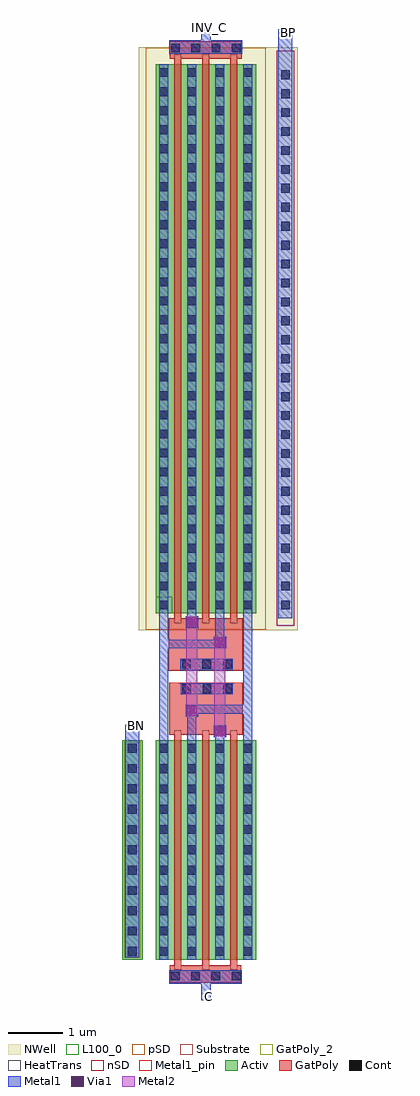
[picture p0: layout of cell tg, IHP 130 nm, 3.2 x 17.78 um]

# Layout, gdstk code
from math import pi, radians
import gdstk
lib = gdstk.Library(unit=1e-6, precision=1e-09)
def R(c, l, rs):  # rectangles x0, y0, x1, y1
    for r in rs: c.add(gdstk.rectangle(r[:2], r[2:], *l))
def A(c, l, x, y, w, h, nx, ny, dx, dy):  # array of equal rectangles
    R(c, l, [(x+i*dx, y+j*dy, x+i*dx+w, y+j*dy+h) for i in range(nx) for j in range(ny)])
Activ = (1, 0)
GatPoly = (5, 0)
GatPoly_2 = (5, 2)
Cont = (6, 0)
nSD = (7, 0)
Metal1 = (8, 0)
Metal1_pin = (8, 2)
Metal2 = (10, 0)
pSD = (14, 0)
Via1 = (19, 0)
NWell = (31, 0)
Substrate = (40, 0)
HeatTrans = (51, 0)
L100_0 = (100, 0)

pmos_1 = lib.new_cell('pmos$1')
A(pmos_1, Activ, 0, 0, 0.3, 0.3, 4, 1, 0.51, 0)
R(pmos_1, Activ, [(0,0,1.83,10)])
A(pmos_1, GatPoly, 0.34, -0.18, 0.13, 10.36, 3, 1, 0.51, 0)
R(pmos_1, GatPoly, [(0.34,-0.18,0.47,10.18)])
A(pmos_1, Cont, 0.07, 0.07, 0.16, 0.16, 4, 4, 0.51, 0.345)
A(pmos_1, Cont, 0.07, 1.455, 0.16, 0.16, 4, 3, 0.51, 0.345)
A(pmos_1, Cont, 0.07, 2.495, 0.16, 0.16, 4, 4, 0.51, 0.345)
A(pmos_1, Cont, 0.07, 3.88, 0.16, 0.16, 4, 3, 0.51, 0.345)
A(pmos_1, Cont, 0.07, 4.92, 0.16, 0.16, 4, 4, 0.51, 0.345)
A(pmos_1, Cont, 0.07, 6.305, 0.16, 0.16, 4, 3, 0.51, 0.345)
A(pmos_1, Cont, 0.07, 7.345, 0.16, 0.16, 4, 4, 0.51, 0.345)
A(pmos_1, Cont, 0.07, 8.73, 0.16, 0.16, 4, 3, 0.51, 0.345)
A(pmos_1, Cont, 0.07, 9.77, 0.16, 0.16, 4, 1, 0.51, 0)
A(pmos_1, Metal1, 0.58, 0, 0.16, 10, 3, 1, 0.51, 0)
R(pmos_1, Metal1, [(0.07,0,0.23,10), (0.07,0,0.23,10), (0.58,0,0.74,10)])
R(pmos_1, pSD, [(-0.18,-0.3,2.01,10.3)])
R(pmos_1, NWell, [(-0.31,-0.31,2.14,10.31)])
R(pmos_1, Substrate, [(1.53,0,1.83,0.3)])
A(pmos_1, HeatTrans, 0.34, -0.18, 0.13, 10.36, 3, 1, 0.51, 0)
pmos_1.add(gdstk.Label('pmos', (0.405,5), layer=63, texttype=0))
pmos_1.add(gdstk.Label('pmos', (0.405,5), layer=51, texttype=0))
pmos_1.add(gdstk.Label('pmos', (0.915,5), layer=51, texttype=0))
pmos_1.add(gdstk.Label('pmos', (1.425,5), layer=51, texttype=0))

nmos = lib.new_cell('nmos')
A(nmos, Activ, 0, 0, 0.3, 0.3, 4, 1, 0.51, 0)
R(nmos, Activ, [(0,0,1.83,4)])
A(nmos, GatPoly, 0.34, -0.18, 0.13, 4.36, 3, 1, 0.51, 0)
R(nmos, GatPoly_2, [(0.34,-0.18,0.47,4.18)])
A(nmos, Cont, 0.07, 0.07, 0.16, 0.16, 4, 11, 0.51, 0.37)
A(nmos, Metal1, 0.07, 0, 0.16, 4, 4, 1, 0.51, 0)
R(nmos, Metal1_pin, [(0.07,0,0.23,4), (0.58,0,0.74,4)])
A(nmos, HeatTrans, 0.34, -0.18, 0.13, 4.36, 3, 1, 0.51, 0)
nmos.add(gdstk.Label('nmos', (0.405,2), layer=63, texttype=0))
nmos.add(gdstk.Label('nmos', (0.405,2), layer=51, texttype=0))
nmos.add(gdstk.Label('nmos', (0.915,2), layer=51, texttype=0))
nmos.add(gdstk.Label('nmos', (1.425,2), layer=51, texttype=0))

c_tg = lib.new_cell('tg')
R(c_tg, Activ, [(-2.65,-6.709,-2.275,-2.709), (-2.65,-6.709,-2.275,-2.709)])
R(c_tg, GatPoly, [(-1.783,-7.131,-0.478,-6.811), (-1.783,-7.131,-0.478,-6.811), (-1.795,-2.615,-0.45,-1.665), (-1.795,-2.615,-0.45,-1.665), (-1.8,-1.445,-0.455,-0.495), (-1.8,-1.445,-0.455,-0.495), (-1.78,9.7,-0.475,10.02), (-1.78,9.7,-0.475,10.02)])
R(c_tg, Cont, [(-1.763,-7.086,-1.603,-6.926), (-1.763,-7.086,-1.603,-6.926), (-1.393,-7.086,-1.233,-6.926), (-1.393,-7.086,-1.233,-6.926), (-1.023,-7.086,-0.863,-6.926), (-1.023,-7.086,-0.863,-6.926), (-0.653,-7.086,-0.493,-6.926), (-0.653,-7.086,-0.493,-6.926), (-2.545,-6.639,-2.385,-6.479), (-2.545,-6.639,-2.385,-6.479), (-2.545,-6.269,-2.385,-6.109), (-2.545,-6.269,-2.385,-6.109), (-2.545,-5.899,-2.385,-5.739), (-2.545,-5.899,-2.385,-5.739), (-2.545,-5.529,-2.385,-5.369), (-2.545,-5.529,-2.385,-5.369), (-2.545,-5.159,-2.385,-4.999), (-2.545,-5.159,-2.385,-4.999), (-2.545,-4.789,-2.385,-4.629), (-2.545,-4.789,-2.385,-4.629), (-2.545,-4.419,-2.385,-4.259), (-2.545,-4.419,-2.385,-4.259), (-2.545,-4.049,-2.385,-3.889), (-2.545,-4.049,-2.385,-3.889), (-2.545,-3.679,-2.385,-3.519), (-2.545,-3.679,-2.385,-3.519), (-2.545,-3.309,-2.385,-3.149), (-2.545,-3.309,-2.385,-3.149), (-2.545,-2.94,-2.385,-2.78), (-2.545,-2.94,-2.385,-2.78), (-1.555,-1.855,-1.395,-1.695), (-1.555,-1.855,-1.395,-1.695), (-1.185,-1.855,-1.025,-1.695), (-1.185,-1.855,-1.025,-1.695), (-0.815,-1.855,-0.655,-1.695), (-0.815,-1.855,-0.655,-1.695), (-1.558,-1.411,-1.398,-1.251), (-1.558,-1.411,-1.398,-1.251), (-1.188,-1.411,-1.028,-1.251), (-1.188,-1.411,-1.028,-1.251), (-0.818,-1.411,-0.658,-1.251), (-0.818,-1.411,-0.658,-1.251), (0.245,-0.33,0.405,-0.17), (0.245,-0.33,0.405,-0.17), (0.245,0.015,0.405,0.175), (0.245,0.015,0.405,0.175), (0.245,0.36,0.405,0.52), (0.245,0.36,0.405,0.52), (0.244,0.705,0.404,0.865), (0.244,0.705,0.404,0.865), (0.244,1.05,0.404,1.21), (0.244,1.05,0.404,1.21), (0.244,1.395,0.404,1.555), (0.244,1.395,0.404,1.555), (0.244,1.741,0.404,1.901), (0.244,1.741,0.404,1.901), (0.244,2.086,0.404,2.246), (0.244,2.086,0.404,2.246), (0.244,2.43,0.404,2.59), (0.244,2.43,0.404,2.59), (0.244,2.776,0.404,2.936), (0.244,2.776,0.404,2.936), (0.244,3.121,0.404,3.281), (0.244,3.121,0.404,3.281), (0.244,3.466,0.404,3.626), (0.244,3.466,0.404,3.626), (0.244,3.811,0.404,3.971), (0.244,3.811,0.404,3.971), (0.244,4.156,0.404,4.316), (0.244,4.156,0.404,4.316), (0.244,4.501,0.404,4.661), (0.244,4.501,0.404,4.661), (0.244,4.846,0.404,5.006), (0.244,4.846,0.404,5.006), (0.244,5.191,0.404,5.351), (0.244,5.191,0.404,5.351), (0.244,5.536,0.404,5.696), (0.244,5.536,0.404,5.696), (0.244,5.881,0.404,6.041), (0.244,5.881,0.404,6.041), (0.244,6.226,0.404,6.386), (0.244,6.226,0.404,6.386), (0.244,6.571,0.404,6.731), (0.244,6.571,0.404,6.731), (0.244,6.915,0.404,7.075), (0.244,6.915,0.404,7.075), (0.244,7.26,0.404,7.42), (0.244,7.26,0.404,7.42), (0.244,7.605,0.404,7.765), (0.244,7.605,0.404,7.765), (0.244,7.95,0.404,8.11), (0.244,7.95,0.404,8.11), (0.244,8.295,0.404,8.455), (0.244,8.295,0.404,8.455), (0.244,8.64,0.404,8.8), (0.244,8.64,0.404,8.8), (0.244,8.985,0.404,9.145), (0.244,8.985,0.404,9.145), (0.244,9.33,0.404,9.49), (0.244,9.33,0.404,9.49), (-1.76,9.815,-1.6,9.975), (-1.76,9.815,-1.6,9.975), (-1.39,9.815,-1.23,9.975), (-1.39,9.815,-1.23,9.975), (-1.02,9.815,-0.86,9.975), (-1.02,9.815,-0.86,9.975), (-0.65,9.815,-0.49,9.975), (-0.65,9.815,-0.49,9.975)])
R(c_tg, nSD, [(0.164,-0.625,0.484,9.845), (0.164,-0.625,0.484,9.845)])
R(c_tg, Metal1, [(-1.21,-7.445,-1.04,-6.91), (-1.21,-7.445,-1.04,-6.91), (-1.793,-7.146,-0.468,-6.906), (-1.793,-7.146,-0.468,-6.906), (-2.59,-6.664,-2.34,-2.429), (-2.59,-6.664,-2.34,-2.429), (-1.97,-2.71,-1.81,-0.4), (-1.97,-2.71,-1.81,-0.4), (-1.46,-2.71,-1.3,-2.285), (-1.46,-2.71,-1.3,-2.285), (-0.95,-2.71,-0.79,-2.655), (-0.95,-2.71,-0.79,-2.655), (-0.44,-2.71,-0.28,-0.4), (-0.44,-2.71,-0.28,-0.4), (-0.985,-2.655,-0.755,-2.44), (-0.985,-2.655,-0.755,-2.44), (-1.495,-2.285,-1.265,-2.07), (-1.495,-2.285,-1.265,-2.07), (-1.265,-2.23,-0.44,-2.07), (-1.265,-2.23,-0.44,-2.07), (-1.587,-1.876,-0.637,-1.671), (-1.587,-1.876,-0.637,-1.671), (-1.59,-1.435,-0.64,-1.23), (-1.59,-1.435,-0.64,-1.23), (-1.81,-1.04,-0.985,-0.88), (-1.81,-1.04,-0.985,-0.88), (-0.985,-1.04,-0.755,-0.825), (-0.985,-1.04,-0.755,-0.825), (-0.95,-0.825,-0.79,-0.4), (-0.95,-0.825,-0.79,-0.4), (-1.495,-0.67,-1.265,-0.455), (-1.495,-0.67,-1.265,-0.455), (0.19,-0.495,0.45,10.235), (0.19,-0.495,0.45,10.235), (-1.46,-0.455,-1.3,-0.4), (-1.46,-0.455,-1.3,-0.4), (-1.79,9.795,-0.465,10.035), (-1.79,9.795,-0.465,10.035), (-1.207,9.799,-1.037,10.334), (-1.207,9.799,-1.037,10.334)])
R(c_tg, Metal2, [(-0.97,-2.645,-0.77,-0.835), (-0.97,-2.645,-0.77,-0.835), (-1.48,-2.275,-1.28,-0.465), (-1.48,-2.275,-1.28,-0.465)])
R(c_tg, pSD, [(-2.61,-6.674,-2.31,-2.744), (-2.61,-6.674,-2.31,-2.744)])
R(c_tg, Via1, [(-0.965,-2.645,-0.775,-2.455), (-0.965,-2.645,-0.775,-2.455), (-1.475,-2.275,-1.285,-2.085), (-1.475,-2.275,-1.285,-2.085), (-0.965,-1.025,-0.775,-0.835), (-0.965,-1.025,-0.775,-0.835), (-1.475,-0.655,-1.285,-0.465), (-1.475,-0.655,-1.285,-0.465)])
R(c_tg, NWell, [(0.099,-0.71,0.55,9.91), (0.099,-0.71,0.55,9.91)])
R(c_tg, L100_0, [(-1.972,-6.637,-1.81,-6.475), (-1.972,-6.637,-1.81,-6.475), (-1.462,-6.637,-1.3,-6.475), (-1.462,-6.637,-1.3,-6.475), (-0.952,-6.637,-0.79,-6.475), (-0.952,-6.637,-0.79,-6.475), (-0.442,-6.637,-0.28,-6.475), (-0.442,-6.637,-0.28,-6.475), (-1.972,-6.267,-1.81,-6.105), (-1.972,-6.267,-1.81,-6.105), (-1.462,-6.267,-1.3,-6.105), (-1.462,-6.267,-1.3,-6.105), (-0.952,-6.267,-0.79,-6.105), (-0.952,-6.267,-0.79,-6.105), (-0.442,-6.267,-0.28,-6.105), (-0.442,-6.267,-0.28,-6.105), (-1.972,-5.897,-1.81,-5.735), (-1.972,-5.897,-1.81,-5.735), (-1.462,-5.897,-1.3,-5.735), (-1.462,-5.897,-1.3,-5.735), (-0.952,-5.897,-0.79,-5.735), (-0.952,-5.897,-0.79,-5.735), (-0.442,-5.897,-0.28,-5.735), (-0.442,-5.897,-0.28,-5.735), (-1.972,-5.527,-1.81,-5.365), (-1.972,-5.527,-1.81,-5.365), (-1.462,-5.527,-1.3,-5.365), (-1.462,-5.527,-1.3,-5.365), (-0.952,-5.527,-0.79,-5.365), (-0.952,-5.527,-0.79,-5.365), (-0.442,-5.527,-0.28,-5.365), (-0.442,-5.527,-0.28,-5.365), (-1.972,-5.157,-1.81,-4.995), (-1.972,-5.157,-1.81,-4.995), (-1.462,-5.157,-1.3,-4.995), (-1.462,-5.157,-1.3,-4.995), (-0.952,-5.157,-0.79,-4.995), (-0.952,-5.157,-0.79,-4.995), (-0.442,-5.157,-0.28,-4.995), (-0.442,-5.157,-0.28,-4.995), (-1.972,-4.787,-1.81,-4.625), (-1.972,-4.787,-1.81,-4.625), (-1.462,-4.787,-1.3,-4.625), (-1.462,-4.787,-1.3,-4.625), (-0.952,-4.787,-0.79,-4.625), (-0.952,-4.787,-0.79,-4.625), (-0.442,-4.787,-0.28,-4.625), (-0.442,-4.787,-0.28,-4.625), (-1.972,-4.417,-1.81,-4.255), (-1.972,-4.417,-1.81,-4.255), (-1.462,-4.417,-1.3,-4.255), (-1.462,-4.417,-1.3,-4.255), (-0.952,-4.417,-0.79,-4.255), (-0.952,-4.417,-0.79,-4.255), (-0.442,-4.417,-0.28,-4.255), (-0.442,-4.417,-0.28,-4.255), (-1.972,-4.047,-1.81,-3.885), (-1.972,-4.047,-1.81,-3.885), (-1.462,-4.047,-1.3,-3.885), (-1.462,-4.047,-1.3,-3.885), (-0.952,-4.047,-0.79,-3.885), (-0.952,-4.047,-0.79,-3.885), (-0.442,-4.047,-0.28,-3.885), (-0.442,-4.047,-0.28,-3.885), (-1.972,-3.677,-1.81,-3.515), (-1.972,-3.677,-1.81,-3.515), (-1.462,-3.677,-1.3,-3.515), (-1.462,-3.677,-1.3,-3.515), (-0.952,-3.677,-0.79,-3.515), (-0.952,-3.677,-0.79,-3.515), (-0.442,-3.677,-0.28,-3.515), (-0.442,-3.677,-0.28,-3.515), (-1.972,-3.307,-1.81,-3.145), (-1.972,-3.307,-1.81,-3.145), (-1.462,-3.307,-1.3,-3.145), (-1.462,-3.307,-1.3,-3.145), (-0.952,-3.307,-0.79,-3.145), (-0.952,-3.307,-0.79,-3.145), (-0.442,-3.307,-0.28,-3.145), (-0.442,-3.307,-0.28,-3.145), (-1.972,-2.937,-1.81,-2.775), (-1.972,-2.937,-1.81,-2.775), (-1.462,-2.937,-1.3,-2.775), (-1.462,-2.937,-1.3,-2.775), (-0.952,-2.937,-0.79,-2.775), (-0.952,-2.937,-0.79,-2.775), (-0.442,-2.937,-0.28,-2.775), (-0.442,-2.937,-0.28,-2.775), (-1.97,-0.33,-1.808,-0.168), (-1.97,-0.33,-1.808,-0.168), (-1.46,-0.33,-1.298,-0.168), (-1.46,-0.33,-1.298,-0.168), (-0.95,-0.33,-0.788,-0.168), (-0.95,-0.33,-0.788,-0.168), (-0.44,-0.33,-0.278,-0.168), (-0.44,-0.33,-0.278,-0.168), (-1.97,0.015,-1.808,0.177), (-1.97,0.015,-1.808,0.177), (-1.46,0.015,-1.298,0.177), (-1.46,0.015,-1.298,0.177), (-0.95,0.015,-0.788,0.177), (-0.95,0.015,-0.788,0.177), (-0.44,0.015,-0.278,0.177), (-0.44,0.015,-0.278,0.177), (-1.97,0.36,-1.808,0.522), (-1.97,0.36,-1.808,0.522), (-1.46,0.36,-1.298,0.522), (-1.46,0.36,-1.298,0.522), (-0.95,0.36,-0.788,0.522), (-0.95,0.36,-0.788,0.522), (-0.44,0.36,-0.278,0.522), (-0.44,0.36,-0.278,0.522), (-1.97,0.705,-1.808,0.867), (-1.97,0.705,-1.808,0.867), (-1.46,0.705,-1.298,0.867), (-1.46,0.705,-1.298,0.867), (-0.95,0.705,-0.788,0.867), (-0.95,0.705,-0.788,0.867), (-0.44,0.705,-0.278,0.867), (-0.44,0.705,-0.278,0.867), (-1.97,1.055,-1.808,1.217), (-1.97,1.055,-1.808,1.217), (-1.46,1.055,-1.298,1.217), (-1.46,1.055,-1.298,1.217), (-0.95,1.055,-0.788,1.217), (-0.95,1.055,-0.788,1.217), (-0.44,1.055,-0.278,1.217), (-0.44,1.055,-0.278,1.217), (-1.97,1.4,-1.808,1.562), (-1.97,1.4,-1.808,1.562), (-1.46,1.4,-1.298,1.562), (-1.46,1.4,-1.298,1.562), (-0.95,1.4,-0.788,1.562), (-0.95,1.4,-0.788,1.562), (-0.44,1.4,-0.278,1.562), (-0.44,1.4,-0.278,1.562), (-1.97,1.745,-1.808,1.907), (-1.97,1.745,-1.808,1.907), (-1.46,1.745,-1.298,1.907), (-1.46,1.745,-1.298,1.907), (-0.95,1.745,-0.788,1.907), (-0.95,1.745,-0.788,1.907), (-0.44,1.745,-0.278,1.907), (-0.44,1.745,-0.278,1.907), (-1.97,2.095,-1.808,2.257), (-1.97,2.095,-1.808,2.257), (-1.46,2.095,-1.298,2.257), (-1.46,2.095,-1.298,2.257), (-0.95,2.095,-0.788,2.257), (-0.95,2.095,-0.788,2.257), (-0.44,2.095,-0.278,2.257), (-0.44,2.095,-0.278,2.257), (-1.97,2.44,-1.808,2.602), (-1.97,2.44,-1.808,2.602), (-1.46,2.44,-1.298,2.602), (-1.46,2.44,-1.298,2.602), (-0.95,2.44,-0.788,2.602), (-0.95,2.44,-0.788,2.602), (-0.44,2.44,-0.278,2.602), (-0.44,2.44,-0.278,2.602), (-1.97,2.785,-1.808,2.947), (-1.97,2.785,-1.808,2.947), (-1.46,2.785,-1.298,2.947), (-1.46,2.785,-1.298,2.947), (-0.95,2.785,-0.788,2.947), (-0.95,2.785,-0.788,2.947), (-0.44,2.785,-0.278,2.947), (-0.44,2.785,-0.278,2.947), (-1.97,3.13,-1.808,3.292), (-1.97,3.13,-1.808,3.292), (-1.46,3.13,-1.298,3.292), (-1.46,3.13,-1.298,3.292), (-0.95,3.13,-0.788,3.292), (-0.95,3.13,-0.788,3.292), (-0.44,3.13,-0.278,3.292), (-0.44,3.13,-0.278,3.292), (-1.97,3.48,-1.808,3.642), (-1.97,3.48,-1.808,3.642), (-1.46,3.48,-1.298,3.642), (-1.46,3.48,-1.298,3.642), (-0.95,3.48,-0.788,3.642), (-0.95,3.48,-0.788,3.642), (-0.44,3.48,-0.278,3.642), (-0.44,3.48,-0.278,3.642), (-1.97,3.825,-1.808,3.987), (-1.97,3.825,-1.808,3.987), (-1.46,3.825,-1.298,3.987), (-1.46,3.825,-1.298,3.987), (-0.95,3.825,-0.788,3.987), (-0.95,3.825,-0.788,3.987), (-0.44,3.825,-0.278,3.987), (-0.44,3.825,-0.278,3.987), (-1.97,4.17,-1.808,4.332), (-1.97,4.17,-1.808,4.332), (-1.46,4.17,-1.298,4.332), (-1.46,4.17,-1.298,4.332), (-0.95,4.17,-0.788,4.332), (-0.95,4.17,-0.788,4.332), (-0.44,4.17,-0.278,4.332), (-0.44,4.17,-0.278,4.332), (-1.97,4.52,-1.808,4.682), (-1.97,4.52,-1.808,4.682), (-1.46,4.52,-1.298,4.682), (-1.46,4.52,-1.298,4.682), (-0.95,4.52,-0.788,4.682), (-0.95,4.52,-0.788,4.682), (-0.44,4.52,-0.278,4.682), (-0.44,4.52,-0.278,4.682), (-1.97,4.865,-1.808,5.027), (-1.97,4.865,-1.808,5.027), (-1.46,4.865,-1.298,5.027), (-1.46,4.865,-1.298,5.027), (-0.95,4.865,-0.788,5.027), (-0.95,4.865,-0.788,5.027), (-0.44,4.865,-0.278,5.027), (-0.44,4.865,-0.278,5.027), (-1.97,5.21,-1.808,5.372), (-1.97,5.21,-1.808,5.372), (-1.46,5.21,-1.298,5.372), (-1.46,5.21,-1.298,5.372), (-0.95,5.21,-0.788,5.372), (-0.95,5.21,-0.788,5.372), (-0.44,5.21,-0.278,5.372), (-0.44,5.21,-0.278,5.372), (-1.97,5.555,-1.808,5.717), (-1.97,5.555,-1.808,5.717), (-1.46,5.555,-1.298,5.717), (-1.46,5.555,-1.298,5.717), (-0.95,5.555,-0.788,5.717), (-0.95,5.555,-0.788,5.717), (-0.44,5.555,-0.278,5.717), (-0.44,5.555,-0.278,5.717), (-1.97,5.905,-1.808,6.067), (-1.97,5.905,-1.808,6.067), (-1.46,5.905,-1.298,6.067), (-1.46,5.905,-1.298,6.067), (-0.95,5.905,-0.788,6.067), (-0.95,5.905,-0.788,6.067), (-0.44,5.905,-0.278,6.067), (-0.44,5.905,-0.278,6.067), (-1.97,6.25,-1.808,6.412), (-1.97,6.25,-1.808,6.412), (-1.46,6.25,-1.298,6.412), (-1.46,6.25,-1.298,6.412), (-0.95,6.25,-0.788,6.412), (-0.95,6.25,-0.788,6.412), (-0.44,6.25,-0.278,6.412), (-0.44,6.25,-0.278,6.412), (-1.97,6.595,-1.808,6.757), (-1.97,6.595,-1.808,6.757), (-1.46,6.595,-1.298,6.757), (-1.46,6.595,-1.298,6.757), (-0.95,6.595,-0.788,6.757), (-0.95,6.595,-0.788,6.757), (-0.44,6.595,-0.278,6.757), (-0.44,6.595,-0.278,6.757), (-1.97,6.945,-1.808,7.107), (-1.97,6.945,-1.808,7.107), (-1.46,6.945,-1.298,7.107), (-1.46,6.945,-1.298,7.107), (-0.95,6.945,-0.788,7.107), (-0.95,6.945,-0.788,7.107), (-0.44,6.945,-0.278,7.107), (-0.44,6.945,-0.278,7.107), (-1.97,7.29,-1.808,7.452), (-1.97,7.29,-1.808,7.452), (-1.46,7.29,-1.298,7.452), (-1.46,7.29,-1.298,7.452), (-0.95,7.29,-0.788,7.452), (-0.95,7.29,-0.788,7.452), (-0.44,7.29,-0.278,7.452), (-0.44,7.29,-0.278,7.452), (-1.97,7.635,-1.808,7.797), (-1.97,7.635,-1.808,7.797), (-1.46,7.635,-1.298,7.797), (-1.46,7.635,-1.298,7.797), (-0.95,7.635,-0.788,7.797), (-0.95,7.635,-0.788,7.797), (-0.44,7.635,-0.278,7.797), (-0.44,7.635,-0.278,7.797), (-1.97,7.98,-1.808,8.142), (-1.97,7.98,-1.808,8.142), (-1.46,7.98,-1.298,8.142), (-1.46,7.98,-1.298,8.142), (-0.95,7.98,-0.788,8.142), (-0.95,7.98,-0.788,8.142), (-0.44,7.98,-0.278,8.142), (-0.44,7.98,-0.278,8.142), (-1.97,8.33,-1.808,8.492), (-1.97,8.33,-1.808,8.492), (-1.46,8.33,-1.298,8.492), (-1.46,8.33,-1.298,8.492), (-0.95,8.33,-0.788,8.492), (-0.95,8.33,-0.788,8.492), (-0.44,8.33,-0.278,8.492), (-0.44,8.33,-0.278,8.492), (-1.97,8.675,-1.808,8.837), (-1.97,8.675,-1.808,8.837), (-1.46,8.675,-1.298,8.837), (-1.46,8.675,-1.298,8.837), (-0.95,8.675,-0.788,8.837), (-0.95,8.675,-0.788,8.837), (-0.44,8.675,-0.278,8.837), (-0.44,8.675,-0.278,8.837), (-1.97,9.02,-1.808,9.182), (-1.97,9.02,-1.808,9.182), (-1.46,9.02,-1.298,9.182), (-1.46,9.02,-1.298,9.182), (-0.95,9.02,-0.788,9.182), (-0.95,9.02,-0.788,9.182), (-0.44,9.02,-0.278,9.182), (-0.44,9.02,-0.278,9.182), (-1.97,9.37,-1.808,9.532), (-1.97,9.37,-1.808,9.532), (-1.46,9.37,-1.298,9.532), (-1.46,9.37,-1.298,9.532), (-0.95,9.37,-0.788,9.532), (-0.95,9.37,-0.788,9.532), (-0.44,9.37,-0.278,9.532), (-0.44,9.37,-0.278,9.532)])
c_tg.add(gdstk.Reference(pmos_1, (-0.21,-0.4), rotation=pi, x_reflection=True))
c_tg.add(gdstk.Reference(nmos, (-0.21,-6.71), rotation=pi, x_reflection=True))
c_tg.add(gdstk.Reference(nmos, (-0.21,-6.71), rotation=pi, x_reflection=True))
c_tg.add(gdstk.Reference(pmos_1, (-0.21,-0.4), rotation=pi, x_reflection=True))
c_tg.add(gdstk.Label('BP', (0.375,10.185), layer=8, texttype=2))
c_tg.add(gdstk.Label('BN', (-2.38,-2.44), layer=8, texttype=2))
c_tg.add(gdstk.Label('C', (-1.07,-7.38), layer=8, texttype=2))
c_tg.add(gdstk.Label('INV_C', (-1.065,10.27), layer=8, texttype=2))
c_tg.add(gdstk.Label('INV_C', (-1.065,10.27), layer=8, texttype=2))
c_tg.add(gdstk.Label('C', (-1.07,-7.38), layer=8, texttype=2))
c_tg.add(gdstk.Label('BN', (-2.38,-2.44), layer=8, texttype=2))
c_tg.add(gdstk.Label('BP', (0.375,10.185), layer=8, texttype=2))

lib.write_gds('tg.gds')
